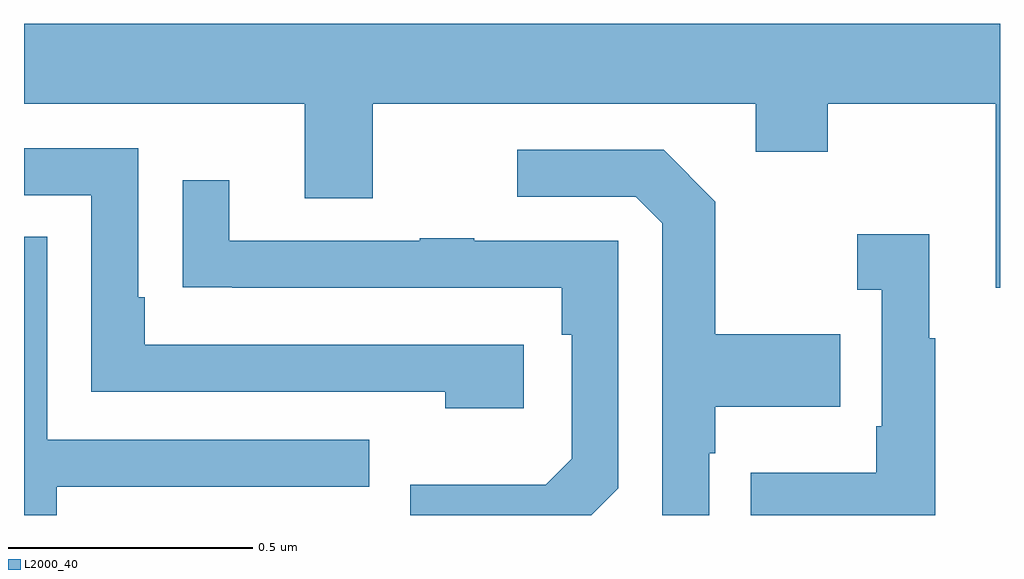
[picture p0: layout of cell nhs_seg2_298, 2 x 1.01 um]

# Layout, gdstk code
import gdstk
lib = gdstk.Library(unit=1e-6, precision=1e-09)
def P(c, l, *ps):  # polygons
    for p in ps: c.add(gdstk.Polygon(p, *l))
L2000_40 = (2000, 40)

nhs_seg2_298 = lib.new_cell('nhs_seg2_298')
P(nhs_seg2_298, L2000_40, [(116,639.808),(114,639.808),(114,639.644),(114.575,639.644),(114.575,639.45),(114.715,639.45),(114.715,639.644),(115.499,639.644),(115.499,639.545),(115.647,639.545),(115.647,639.644),(115.991,639.644),(115.991,639.267),(116,639.267)],
  [(115.024,639.15),(114.247,639.15),(114.247,639.247),(114.234,639.247),(114.234,639.552),(114,639.552),(114,639.456),(114.138,639.456),(114.138,639.054),(114.863,639.054),(114.863,639.02),(115.024,639.02)],
  [(115.404,638.927),(115.417,638.927),(115.417,639.023),(115.673,639.023),(115.673,639.171),(115.417,639.171),(115.417,639.443),(115.311,639.549),(115.011,639.549),(115.011,639.453),(115.254,639.453),(115.308,639.399),(115.308,638.8),(115.404,638.8)],
  [(115.218,638.856),(115.218,639.363),(114.923,639.363),(114.923,639.368),(114.811,639.368),(114.811,639.363),(114.421,639.363),(114.421,639.487),(114.325,639.487),(114.325,639.268),(114.427,639.268),(114.427,639.267),(115.102,639.267),(115.102,639.17),(115.122,639.17),(115.122,638.916),(115.069,638.863),(114.792,638.863),(114.792,638.8),(115.162,638.8)],
  [(115.867,639.163),(115.855,639.163),(115.855,639.376),(115.707,639.376),(115.707,639.263),(115.758,639.263),(115.758,638.983),(115.746,638.983),(115.746,638.887),(115.489,638.887),(115.489,638.8),(115.867,638.8)],
  [(114.067,638.859),(114.707,638.859),(114.707,638.955),(114.048,638.955),(114.048,639.371),(114,639.371),(114,638.8),(114.067,638.8)])

lib.write_gds('nhs_seg2_298.gds')
